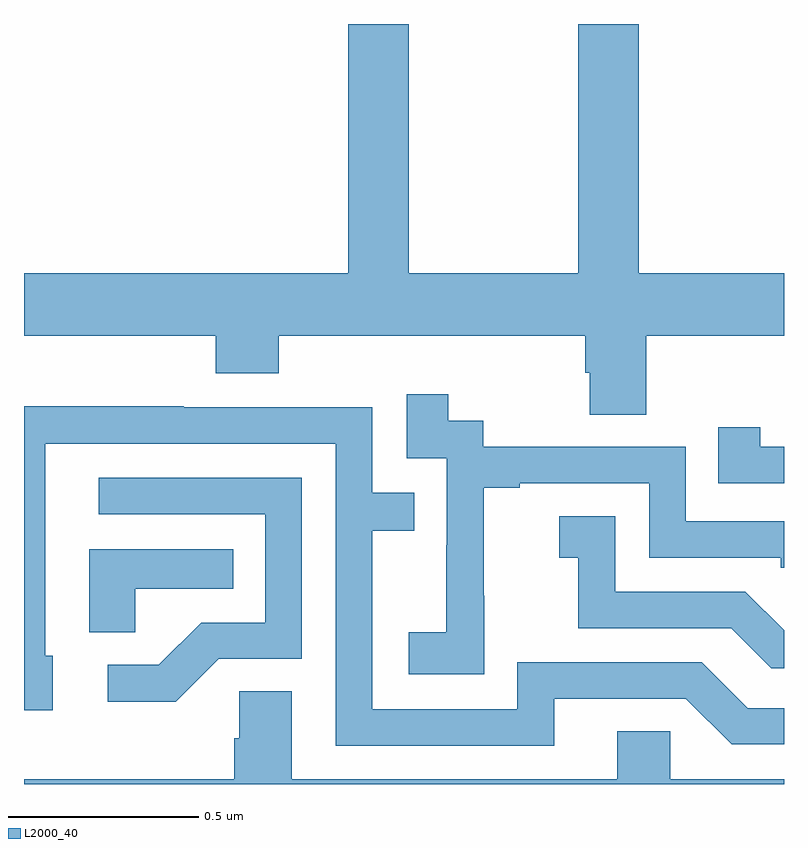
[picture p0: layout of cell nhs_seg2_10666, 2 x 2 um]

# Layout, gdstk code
import gdstk
lib = gdstk.Library(unit=1e-6, precision=1e-09)
def P(c, l, *ps):  # polygons
    for p in ps: c.add(gdstk.Polygon(p, *l))
L2000_40 = (2000, 40)

nhs_seg2_10666 = lib.new_cell('nhs_seg2_10666')
P(nhs_seg2_10666, L2000_40, [(245.637,636.98),(246,636.98),(246,637.144),(245.618,637.144),(245.618,637.8),(245.458,637.8),(245.458,637.144),(245.013,637.144),(245.013,637.8),(244.853,637.8),(244.853,637.144),(244,637.144),(244,636.98),(244.505,636.98),(244.505,636.881),(244.67,636.881),(244.67,636.98),(245.477,636.98),(245.477,636.882),(245.489,636.882),(245.489,636.772),(245.637,636.772)],
  [(245.211,636.295),(245.21,636.295),(245.21,636.579),(245.305,636.579),(245.305,636.591),(245.646,636.591),(245.646,636.396),(245.991,636.396),(245.991,636.369),(246,636.369),(246,636.492),(245.742,636.492),(245.742,636.687),(245.208,636.687),(245.208,636.756),(245.116,636.756),(245.116,636.826),(245.007,636.826),(245.007,636.657),(245.112,636.657),(245.112,636.428),(245.111,636.428),(245.111,636.199),(245.013,636.199),(245.013,636.089),(245.211,636.089)],
  [(245.395,636.024),(245.742,636.024),(245.862,635.904),(246,635.904),(246,636),(245.904,636),(245.784,636.12),(245.298,636.12),(245.298,635.997),(244.917,635.997),(244.917,636.466),(245.027,636.466),(245.027,636.567),(244.917,636.567),(244.917,636.792),(244.421,636.792),(244.421,636.794),(244,636.794),(244,635.994),(244.075,635.994),(244.075,636.138),(244.056,636.138),(244.056,636.696),(244.821,636.696),(244.821,635.901),(245.395,635.901)],
  [(246,636.687),(245.938,636.687),(245.938,636.739),(245.827,636.739),(245.827,636.591),(246,636.591)],
  [(244.512,636.129),(244.731,636.129),(244.731,636.606),(244.197,636.606),(244.197,636.51),(244.635,636.51),(244.635,636.225),(244.466,636.225),(244.355,636.114),(244.221,636.114),(244.221,636.017),(244.399,636.017)],
  [(246,636.204),(245.898,636.306),(245.556,636.306),(245.556,636.505),(245.409,636.505),(245.409,636.395),(245.458,636.395),(245.458,636.21),(245.861,636.21),(245.966,636.105),(246,636.105)],
  [(244.293,636.314),(244.55,636.314),(244.55,636.418),(244.172,636.418),(244.172,636.199),(244.293,636.199)],
  [(245.7,635.939),(245.561,635.939),(245.561,635.812),(244.705,635.812),(244.705,636.044),(244.566,636.044),(244.566,635.921),(244.553,635.921),(244.553,635.812),(244,635.812),(244,635.8),(246,635.8),(246,635.812),(245.7,635.812)])

lib.write_gds('nhs_seg2_10666.gds')
